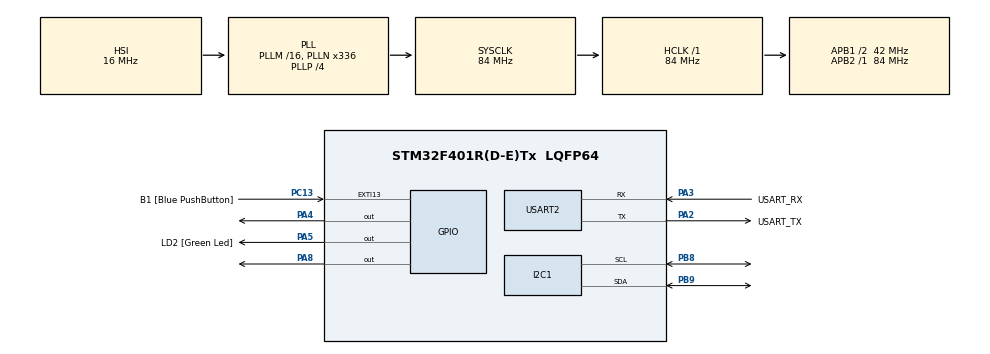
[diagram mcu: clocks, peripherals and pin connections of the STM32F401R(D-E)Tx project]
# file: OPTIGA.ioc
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I2C1.I2C_Mode=I2C_Fast
Mcu.Family=STM32F4
Mcu.Name=STM32F401R(D-E)Tx
Mcu.Package=LQFP64
NVIC.EXTI15_10_IRQn=true\:0\:0\:false\:false\:true\:true\:true\:true
NVIC.I2C1_ER_IRQn=true\:0\:0\:false\:false\:true\:true\:true\:true
NVIC.I2C1_EV_IRQn=true\:0\:0\:false\:true\:true\:1\:true\:true\:true
NVIC.PriorityGroup=NVIC_PRIORITYGROUP_4
NVIC.TIM2_IRQn=true\:0\:0\:false\:false\:true\:true\:true\:true
NVIC.USART2_IRQn=true\:0\:0\:false\:false\:true\:true\:true\:true
PA13.GPIO_Label=TMS
PA13.Mode=Serial_Wire
PA13.Signal=SYS_JTMS-SWDIO
PA14.GPIO_Label=TCK
PA14.Mode=Serial_Wire
PA14.Signal=SYS_JTCK-SWCLK
PA2.GPIO_Label=USART_TX
PA2.GPIO_Mode=GPIO_MODE_AF_PP
PA2.GPIO_PuPd=GPIO_NOPULL
PA2.GPIO_Speed=GPIO_SPEED_FREQ_LOW
PA2.Mode=Asynchronous
PA2.Signal=USART2_TX
PA3.GPIO_Label=USART_RX
PA3.GPIO_Mode=GPIO_MODE_AF_PP
PA3.GPIO_PuPd=GPIO_NOPULL
PA3.GPIO_Speed=GPIO_SPEED_FREQ_LOW
PA3.Mode=Asynchronous
PA3.Signal=USART2_RX
PA4.Signal=GPIO_Output
PA5.GPIO_Label=LD2 [Green Led]
PA5.GPIO_Mode=GPIO_MODE_OUTPUT_PP
PA5.GPIO_PuPd=GPIO_NOPULL
PA5.GPIO_Speed=GPIO_SPEED_FREQ_LOW
PA5.Signal=GPIO_Output
PA8.Signal=GPIO_Output
PB3.GPIO_Label=SWO
PB3.Signal=SYS_JTDO-SWO
PB8.Mode=I2C
PB8.Signal=I2C1_SCL
PB9.Mode=I2C
PB9.Signal=I2C1_SDA
PC13-ANTI_TAMP.GPIO_Label=B1 [Blue PushButton]
PC13-ANTI_TAMP.GPIO_ModeDefaultEXTI=GPIO_MODE_IT_FALLING
PC13-ANTI_TAMP.GPIO_PuPd=GPIO_NOPULL
PC13-ANTI_TAMP.Signal=GPXTI13
PC14-OSC32_IN.Mode=LSE-External-Oscillator
PC14-OSC32_IN.Signal=RCC_OSC32_IN
PC15-OSC32_OUT.Mode=LSE-External-Oscillator
PC15-OSC32_OUT.Signal=RCC_OSC32_OUT
PH0\ -\ OSC_IN.Mode=HSE-External-Clock-Source
PH0\ -\ OSC_IN.Signal=RCC_OSC_IN
PH1\ -\ OSC_OUT.Mode=HSE-External-Clock-Source
PH1\ -\ OSC_OUT.Signal=RCC_OSC_OUT
ProjectManager.HeapSize=0x200
ProjectManager.StackSize=0x400
ProjectManager.TargetToolchain=STM32CubeIDE
RCC.48MHZClocksFreq_Value=48000000
RCC.AHBFreq_Value=84000000
RCC.APB1CLKDivider=RCC_HCLK_DIV2
RCC.APB1Freq_Value=42000000
RCC.APB1TimFreq_Value=84000000
RCC.APB2Freq_Value=84000000
RCC.APB2TimFreq_Value=84000000
RCC.CortexFreq_Value=84000000
RCC.HCLKFreq_Value=84000000
RCC.HSE_VALUE=8000000
RCC.HSI_VALUE=16000000
RCC.PLLN=336
RCC.PLLP=RCC_PLLP_DIV4
RCC.PLLQ=7
RCC.SYSCLKFreq_VALUE=84000000
RCC.SYSCLKSource=RCC_SYSCLKSOURCE_PLLCLK
RCC.VCOOutputFreq_Value=336000000
TIM2.AutoReloadPreload=TIM_AUTORELOAD_PRELOAD_ENABLE
TIM2.Prescaler=8399
USART2.VirtualMode=VM_ASYNC
VP_CRC_VS_CRC.Mode=CRC_Activate
VP_TIM2_VS_ClockSourceINT.Mode=Internal
board=NUCLEO-F401RE

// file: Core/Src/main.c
/* USER CODE BEGIN Header */
/**
  ******************************************************************************
  * @file           : main.c
  * @brief          : Main program body
  ******************************************************************************
  * @attention
  *
  * Copyright (c) 2025 STMicroelectronics.
  * All rights reserved.
  *
  * This software is licensed under terms that can be found in the LICENSE file
  * in the root directory of this software component.
  * If no LICENSE file comes with this software, it is provided AS-IS.
  *
  ******************************************************************************
  */
/* USER CODE END Header */
#include "main.h"

/* USER CODE BEGIN Includes */

#include "ymodem/menu.h"
#include "authentication/optiga_auth.h"
#include <stdio.h>
#include <stdbool.h>

/* USER CODE END Includes */

/* USER CODE BEGIN PTD */
#define MAJOR 1   // BL Major version Number
#define MINOR 3   // BL Minor version Number
const uint8_t BL_Version[2] = { MAJOR, MINOR };
/* USER CODE END PTD */

CRC_HandleTypeDef hcrc;

I2C_HandleTypeDef hi2c1;

TIM_HandleTypeDef htim2;

UART_HandleTypeDef huart2;

void SystemClock_Config(void);
static void MX_GPIO_Init(void);
static void MX_USART2_UART_Init(void);
static void MX_I2C1_Init(void);
static void MX_TIM2_Init(void);
static void MX_CRC_Init(void);
static void MX_NVIC_Init(void);
/* USER CODE BEGIN PFP */

#ifdef __GNUC__
  /* With GCC, small printf (option LD Linker->Libraries->Small printf
     set to 'Yes') calls __io_putchar() */
int __io_putchar(int ch)
#else
int fputc(int ch, FILE *f)
#endif /* __GNUC__ */
{
  /* Place your implementation of fputc here */
  /* e.g. write a character to the UART3 and Loop until the end of transmission */
  HAL_UART_Transmit(&huart2, (uint8_t *)&ch, 1, HAL_MAX_DELAY);

  return ch;
}
/* USER CODE END PFP */

/* USER CODE BEGIN 0 */
extern pFunction jumpToApplication;
extern uint32_t jumpAddress;

/* USER CODE END 0 */

int main(void)
{

  /* MCU Configuration--------------------------------------------------------*/

  /* Reset of all peripherals, Initializes the Flash interface and the Systick. */
  HAL_Init();

  /* Configure the system clock */
  SystemClock_Config();

  /* Initialize all configured peripherals */
  MX_GPIO_Init();
  MX_USART2_UART_Init();
  MX_I2C1_Init();
  MX_TIM2_Init();
  MX_CRC_Init();

  /* Initialize interrupts */
  MX_NVIC_Init();
  /* USER CODE BEGIN 2 */
  HAL_TIM_Base_Start_IT(&htim2);
  HAL_NVIC_SetPriority(TIM2_IRQn, 0, 0);
  HAL_NVIC_EnableIRQ(TIM2_IRQn);
  HAL_GPIO_WritePin(GPIOA, GPIO_PIN_5, GPIO_PIN_SET );    //Green LED OFF

   // optiga_main_logic();
    /* Check the GPIO for 3 seconds */
  	//  optiga_main_logic();
      GPIO_PinState OTA_Pin_state;
      uint32_t end_tick = HAL_GetTick() + 3000;   // from now to 3 Seconds

      printf("Press the User Button PC13 to trigger OTA update...\r\n");
      do
      {
        OTA_Pin_state = HAL_GPIO_ReadPin( GPIOC, GPIO_PIN_13 );
        uint32_t current_tick = HAL_GetTick();

        /* Check the button is pressed or not for 3seconds */
        if( ( OTA_Pin_state != GPIO_PIN_SET ) || ( current_tick > end_tick ) )
        {
          /* Either timeout or Button is pressed */
          break;
        }
      }while( 1 );
      if( OTA_Pin_state == GPIO_PIN_RESET ) {
    	  /* Initialise Flash */
    	 	  FLASH_IF_init();
    	 	  /* Display main menu */
    	 	  main_menu ();
      }
      else {
    	  /* Test if user code is programmed starting from address "APPLICATION_ADDRESS" */
    	 	  if (((*(__IO uint32_t*)APPLICATION_ADDRESS) & 0x2FFE0000 ) == 0x20000000)
    	 	  {
    	 		  /* Jump to user application */
    	 		  jumpAddress = *(__IO uint32_t*) (APPLICATION_ADDRESS + 4);
    	 		  jumpToApplication = (pFunction) jumpAddress;
    	 		  /* Initialize user application's Stack Pointer */
    	 		  __set_MSP(*(__IO uint32_t*) APPLICATION_ADDRESS);
    	 		  jumpToApplication();
    	 	  }
      }

  /* USER CODE END 2 */

  /* Infinite loop */
  while (1)
  {

  }
}

void SystemClock_Config(void)
{
  RCC_OscInitTypeDef RCC_OscInitStruct = {0};
  RCC_ClkInitTypeDef RCC_ClkInitStruct = {0};

  /** Configure the main internal regulator output voltage
  */
  __HAL_RCC_PWR_CLK_ENABLE();
  __HAL_PWR_VOLTAGESCALING_CONFIG(PWR_REGULATOR_VOLTAGE_SCALE2);

  /** Initializes the RCC Oscillators according to the specified parameters
  * in the RCC_OscInitTypeDef structure.
  */
  RCC_OscInitStruct.OscillatorType = RCC_OSCILLATORTYPE_HSI;
  RCC_OscInitStruct.HSIState = RCC_HSI_ON;
  RCC_OscInitStruct.HSICalibrationValue = RCC_HSICALIBRATION_DEFAULT;
  RCC_OscInitStruct.PLL.PLLState = RCC_PLL_ON;
  RCC_OscInitStruct.PLL.PLLSource = RCC_PLLSOURCE_HSI;
  RCC_OscInitStruct.PLL.PLLM = 16;
  RCC_OscInitStruct.PLL.PLLN = 336;
  RCC_OscInitStruct.PLL.PLLP = RCC_PLLP_DIV4;
  RCC_OscInitStruct.PLL.PLLQ = 7;
  if (HAL_RCC_OscConfig(&RCC_OscInitStruct) != HAL_OK)
  {
    Error_Handler();
  }

  /** Initializes the CPU, AHB and APB buses clocks
  */
  RCC_ClkInitStruct.ClockType = RCC_CLOCKTYPE_HCLK|RCC_CLOCKTYPE_SYSCLK
                              |RCC_CLOCKTYPE_PCLK1|RCC_CLOCKTYPE_PCLK2;
  RCC_ClkInitStruct.SYSCLKSource = RCC_SYSCLKSOURCE_PLLCLK;
  RCC_ClkInitStruct.AHBCLKDivider = RCC_SYSCLK_DIV1;
  RCC_ClkInitStruct.APB1CLKDivider = RCC_HCLK_DIV2;
  RCC_ClkInitStruct.APB2CLKDivider = RCC_HCLK_DIV1;

  if (HAL_RCC_ClockConfig(&RCC_ClkInitStruct, FLASH_LATENCY_2) != HAL_OK)
  {
    Error_Handler();
  }
}

/**
  * @brief NVIC Configuration.
  * @retval None
  */
static void MX_NVIC_Init(void)
{
  /* I2C1_EV_IRQn interrupt configuration */
  HAL_NVIC_SetPriority(I2C1_EV_IRQn, 0, 0);
  HAL_NVIC_EnableIRQ(I2C1_EV_IRQn);
}

static void MX_CRC_Init(void)
{

  hcrc.Instance = CRC;
  if (HAL_CRC_Init(&hcrc) != HAL_OK)
  {
    Error_Handler();
  }

}

static void MX_I2C1_Init(void)
{

  hi2c1.Instance = I2C1;
  hi2c1.Init.ClockSpeed = 400000;
  hi2c1.Init.DutyCycle = I2C_DUTYCYCLE_2;
  hi2c1.Init.OwnAddress1 = 0;
  hi2c1.Init.AddressingMode = I2C_ADDRESSINGMODE_7BIT;
  hi2c1.Init.DualAddressMode = I2C_DUALADDRESS_DISABLE;
  hi2c1.Init.OwnAddress2 = 0;
  hi2c1.Init.GeneralCallMode = I2C_GENERALCALL_DISABLE;
  hi2c1.Init.NoStretchMode = I2C_NOSTRETCH_DISABLE;
  if (HAL_I2C_Init(&hi2c1) != HAL_OK)
  {
    Error_Handler();
  }

}

static void MX_TIM2_Init(void)
{

  TIM_ClockConfigTypeDef sClockSourceConfig = {0};
  TIM_MasterConfigTypeDef sMasterConfig = {0};

  htim2.Instance = TIM2;
  htim2.Init.Prescaler = 8399;
  htim2.Init.CounterMode = TIM_COUNTERMODE_UP;
  htim2.Init.Period = 4294967295;
  htim2.Init.ClockDivision = TIM_CLOCKDIVISION_DIV1;
  htim2.Init.AutoReloadPreload = TIM_AUTORELOAD_PRELOAD_ENABLE;
  if (HAL_TIM_Base_Init(&htim2) != HAL_OK)
  {
    Error_Handler();
  }
  sClockSourceConfig.ClockSource = TIM_CLOCKSOURCE_INTERNAL;
  if (HAL_TIM_ConfigClockSource(&htim2, &sClockSourceConfig) != HAL_OK)
  {
    Error_Handler();
  }
  sMasterConfig.MasterOutputTrigger = TIM_TRGO_RESET;
  sMasterConfig.MasterSlaveMode = TIM_MASTERSLAVEMODE_DISABLE;
  if (HAL_TIMEx_MasterConfigSynchronization(&htim2, &sMasterConfig) != HAL_OK)
  {
    Error_Handler();
  }

}

static void MX_USART2_UART_Init(void)
{

  huart2.Instance = USART2;
  huart2.Init.BaudRate = 115200;
  huart2.Init.WordLength = UART_WORDLENGTH_8B;
  huart2.Init.StopBits = UART_STOPBITS_1;
  huart2.Init.Parity = UART_PARITY_NONE;
  huart2.Init.Mode = UART_MODE_TX_RX;
  huart2.Init.HwFlowCtl = UART_HWCONTROL_NONE;
  huart2.Init.OverSampling = UART_OVERSAMPLING_16;
  if (HAL_UART_Init(&huart2) != HAL_OK)
  {
    Error_Handler();
  }

}

static void MX_GPIO_Init(void)
{
  GPIO_InitTypeDef GPIO_InitStruct = {0};

  /* GPIO Ports Clock Enable */
  __HAL_RCC_GPIOC_CLK_ENABLE();
  __HAL_RCC_GPIOH_CLK_ENABLE();
  __HAL_RCC_GPIOA_CLK_ENABLE();
  __HAL_RCC_GPIOB_CLK_ENABLE();

  /*Configure GPIO pin Output Level */
  HAL_GPIO_WritePin(GPIOA, GPIO_PIN_4|LD2_Pin|GPIO_PIN_8, GPIO_PIN_RESET);

  /*Configure GPIO pin : B1_Pin */
  GPIO_InitStruct.Pin = B1_Pin;
  GPIO_InitStruct.Mode = GPIO_MODE_IT_FALLING;
  GPIO_InitStruct.Pull = GPIO_NOPULL;
  HAL_GPIO_Init(B1_GPIO_Port, &GPIO_InitStruct);

  /*Configure GPIO pins : PA4 LD2_Pin PA8 */
  GPIO_InitStruct.Pin = GPIO_PIN_4|LD2_Pin|GPIO_PIN_8;
  GPIO_InitStruct.Mode = GPIO_MODE_OUTPUT_PP;
  GPIO_InitStruct.Pull = GPIO_NOPULL;
  GPIO_InitStruct.Speed = GPIO_SPEED_FREQ_LOW;
  HAL_GPIO_Init(GPIOA, &GPIO_InitStruct);

  /* EXTI interrupt init*/
  HAL_NVIC_SetPriority(EXTI15_10_IRQn, 0, 0);
  HAL_NVIC_EnableIRQ(EXTI15_10_IRQn);

}

/* USER CODE BEGIN 4 */

//static void goto_application(void)
//{
//    printf("Jumping to application...\r\n");
//    HAL_Delay(1000);
//
//    uint32_t app_stack = *(volatile uint32_t*)ETX_APP_FLASH_ADDR;
//    uint32_t app_reset_handler = *(volatile uint32_t*)(ETX_APP_FLASH_ADDR + 4);
//
//    // Check if the app address is valid (optional safety check)
//    if ((app_stack & 0x2FFE0000) != 0x20000000) {
//        printf("Invalid application stack pointer.\r\n");
//        return;
//    }
//
//    // Deinit all HAL and peripherals
//    HAL_RCC_DeInit();
//    HAL_DeInit();
//    __disable_irq();
//
//    // Set main stack pointer
//    __set_MSP(app_stack);
//
//    // Set vector table location (important for interrupts to work correctly)
//    SCB->VTOR = ETX_APP_FLASH_ADDR;
//
//    // Jump to application reset handler
//    void (*app_entry)(void) = (void (*)(void))app_reset_handler;
//    app_entry();
//
//    // Should never return here
//    while(1);
//}
/* USER CODE END 4 */

void Error_Handler(void)
{
  __disable_irq();
  while (1)
  {
  }
}
